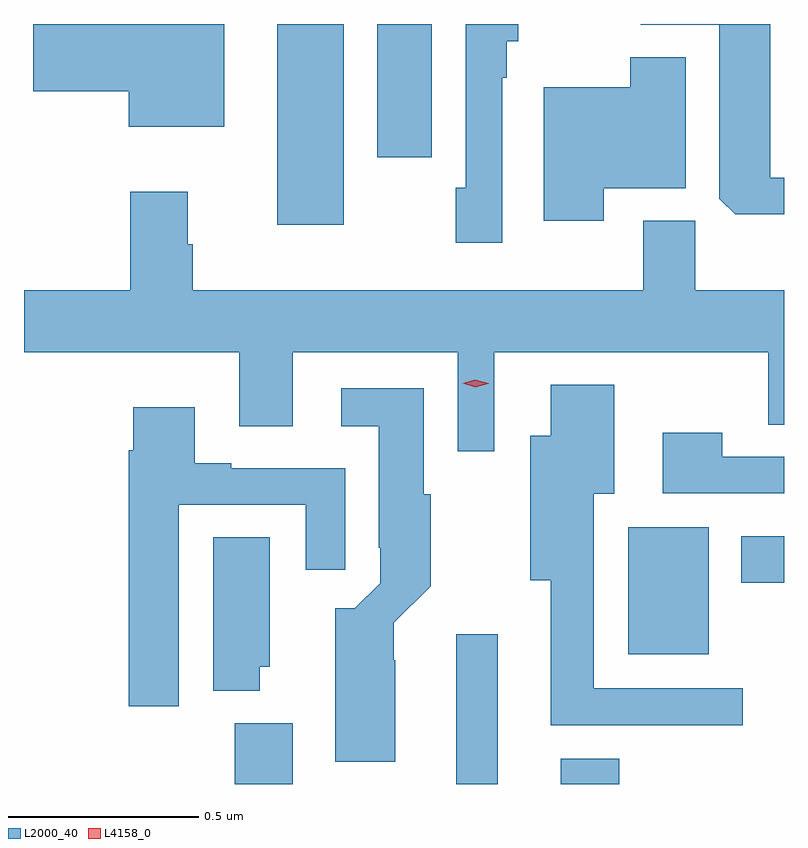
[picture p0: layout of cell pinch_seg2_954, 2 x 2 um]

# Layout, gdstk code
import gdstk
lib = gdstk.Library(unit=1e-6, precision=1e-09)
def R(c, l, rs):  # rectangles x0, y0, x1, y1
    for r in rs: c.add(gdstk.rectangle(r[:2], r[2:], *l))
def P(c, l, *ps):  # polygons
    for p in ps: c.add(gdstk.Polygon(p, *l))
L2000_40 = (2000, 40)
L4158_0 = (4158, 0)

pinch_seg2_954 = lib.new_cell('pinch_seg2_954')
R(pinch_seg2_954, L2000_40, [(254.441,655.824,254.593,655.984), (255.023,655.824,255.133,656.218), (255.299,655.824,255.452,655.891), (255.476,656.165,255.688,656.5), (255.773,656.354,255.886,656.476), (254.552,657.296,254.728,657.824), (254.816,657.474,254.959,657.824)])
P(pinch_seg2_954, L2000_40, [(254.413,657.824),(253.91,657.824),(253.91,657.647),(254.162,657.647),(254.162,657.554),(254.413,657.554)],
  [(255.886,657.42),(255.85,657.42),(255.85,657.824),(255.509,657.824),(255.509,657.822),(255.716,657.822),(255.716,657.364),(255.758,657.323),(255.886,657.323)],
  [(255.144,657.683),(255.157,657.683),(255.157,657.779),(255.186,657.779),(255.186,657.824),(255.048,657.824),(255.048,657.393),(255.022,657.393),(255.022,657.249),(255.144,657.249)],
  [(255.412,657.392),(255.628,657.392),(255.628,657.736),(255.481,657.736),(255.481,657.658),(255.254,657.658),(255.254,657.306),(255.412,657.306)],
  [(255.123,656.96),(255.844,656.96),(255.844,656.77),(255.886,656.77),(255.886,657.124),(255.653,657.124),(255.653,657.306),(255.515,657.306),(255.515,657.124),(254.33,657.124),(254.33,657.245),(254.317,657.245),(254.317,657.382),(254.165,657.382),(254.165,657.124),(253.886,657.124),(253.886,656.96),(254.453,656.96),(254.453,656.766),(254.593,656.766),(254.593,656.96),(255.027,656.96),(255.027,656.7),(255.123,656.7)],
  [(255.778,656.076),(255.385,656.076),(255.385,656.588),(255.439,656.588),(255.439,656.875),(255.272,656.875),(255.272,656.74),(255.218,656.74),(255.218,656.36),(255.272,656.36),(255.272,655.979),(255.778,655.979)],
  [(254.863,656.15),(254.859,656.15),(254.859,656.248),(254.956,656.345),(254.956,656.586),(254.938,656.586),(254.938,656.866),(254.721,656.866),(254.721,656.765),(254.819,656.765),(254.819,656.446),(254.823,656.446),(254.823,656.352),(254.757,656.286),(254.705,656.286),(254.705,655.883),(254.863,655.883)],
  [(254.293,656.559),(254.627,656.559),(254.627,656.388),(254.731,656.388),(254.731,656.655),(254.431,656.655),(254.431,656.668),(254.335,656.668),(254.335,656.815),(254.174,656.815),(254.174,656.702),(254.162,656.702),(254.162,656.028),(254.293,656.028)],
  [(255.886,656.685),(255.723,656.685),(255.723,656.749),(255.567,656.749),(255.567,656.589),(255.886,656.589)],
  [(254.506,656.133),(254.533,656.133),(254.533,656.474),(254.384,656.474),(254.384,656.069),(254.506,656.069)])
P(pinch_seg2_954, L4158_0, [(255.074,656.868),(255.04,656.878),(255.04,656.878),(255.04,656.878),(255.074,656.888),(255.108,656.878),(255.109,656.877),(255.108,656.877)])

lib.write_gds('pinch_seg2_954.gds')
